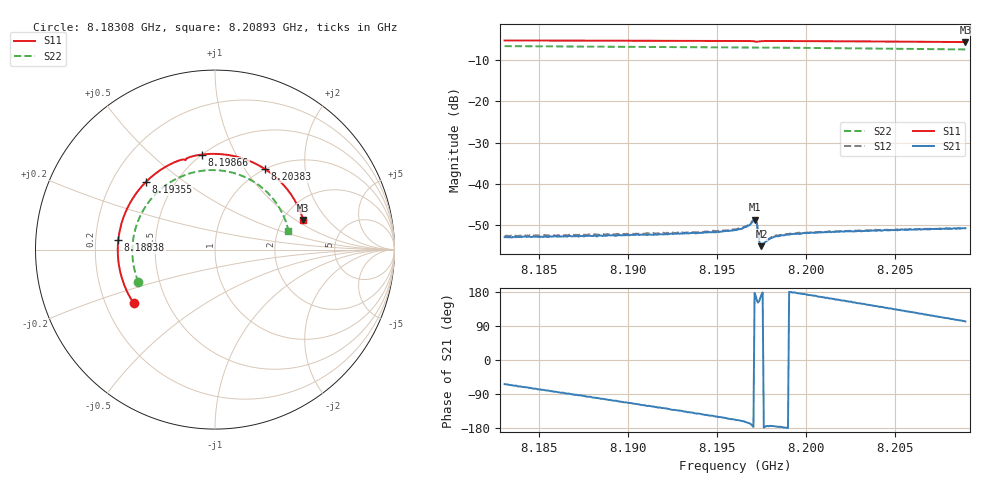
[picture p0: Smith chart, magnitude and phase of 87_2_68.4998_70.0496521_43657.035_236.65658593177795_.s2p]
#  HZ  S  RI  R  50.00
! Rohde & Schwarz Vector Network Analyzer
! Rohde-Schwarz,ZNB20-2Port,1311601062101988,3.16
! Created: UTC 3/20/2024, 5:07:38 PM
! freq[Hz]  re:S11  im:S11  re:S21  im:S21  re:S12  im:S12  re:S22  im:S22
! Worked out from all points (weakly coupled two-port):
!   401 points, 8.18308 GHz to 8.20893 GHz, reference 50 ohm
!   highest |S21| = -48.62 dB at 8.1971 GHz (marker M1); lowest = -55.1 dB at 8.19749 GHz (marker M2)
!   lowest |S11| = -5.7 dB at 8.20893 GHz (marker M3), VSWR 3.16, Z = 128 + j57.9 ohm
!   |S11| at or under -10 dB: nowhere
!   |S22| runs from -7.5 to -6.7 dB; largest |S21 - S12| = 0.00018
!   S11 on the Smith chart (normalised r, x): 8.18308 GHz: 0.32, -0.27; 8.18838 GHz: 0.30, +0.05; 8.19355 GHz: 0.34, +0.36; 8.19866 GHz: 0.50, +0.74; 8.20383 GHz: 1.00, +1.24; 8.20893 GHz: 2.56, +1.16
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8.183081e9  -0.4537 -0.2985  0.00101 -0.00203  0.000998 -0.00212  -0.4266 -0.182
8.185407e9  -0.5209 -0.1515  0.000398 -0.00228  0.000363 -0.00235  -0.458 -0.0567
8.187411e9  -0.5417 -0.0139  -0.000157 -0.00234  -0.000262 -0.00242  -0.4561 0.0545
8.18838e9  -0.5388 0.0539  -0.000461 -0.00234  -0.000522 -0.00237  -0.4456 0.1073
8.19006e9  -0.5139 0.1685  -0.000956 -0.00221  -0.00103 -0.00224  -0.4129 0.1944
8.19174e9  -0.4646 0.2753  -0.00143 -0.002  -0.00151 -0.00203  -0.363 0.2734
8.19355e9  -0.3865 0.3754  -0.00192 -0.00169  -0.00203 -0.00164  -0.292 0.3451
8.196006e9  -0.2467 0.4768  -0.00257 -0.00106  -0.00265 -0.000968  -0.1732 0.4136
8.196587e9  -0.2081 0.4938  -0.00288 -0.000852  -0.00298 -0.000763  -0.1423 0.4243
8.197104e9  -0.1691 0.5014  -0.0037 0.000203  -0.00377 0.000329  -0.1139 0.4316
8.197169e9  -0.1653 0.4994  -0.0036 0.000728  -0.00364 0.000905  -0.1106 0.4323
8.197427e9  -0.1595 0.5066  -0.00173 0.000481  -0.00174 0.000507  -0.0965 0.4352
8.197492e9  -0.1552 0.5094  -0.00175 0.000224  -0.00181 0.000274  -0.0928 0.4361
8.197557e9  -0.1504 0.5119  -0.00181 5.57e-05  -0.00186 9.09e-05  -0.0892 0.4367
8.198074e9  -0.1129 0.5227  -0.00221 -0.000225  -0.00228 -0.000154  -0.0602 0.4408
8.198655e9  -0.0716 0.5296  -0.00239 -0.000121  -0.00241 2.25e-05  -0.0273 0.443
8.200335e9  0.0474 0.5305  -0.00254 0.000414  -0.00254 0.000555  0.0678 0.4355
8.20208e9  0.1675 0.5034  -0.00243 0.00105  -0.00243 0.00113  0.1629 0.4059
8.203825e9  0.278 0.4489  -0.00218 0.00166  -0.00214 0.00173  0.2494 0.3548
8.204665e9  0.326 0.4137  -0.00199 0.00191  -0.00191 0.00199  0.2867 0.3232
8.206927e9  0.4323 0.2941  -0.00133 0.00248  -0.00127 0.00256  0.3672 0.2181
8.20893e9  0.4921 0.165  -0.000596 0.00286  -0.000549 0.00285  0.4091 0.1064
